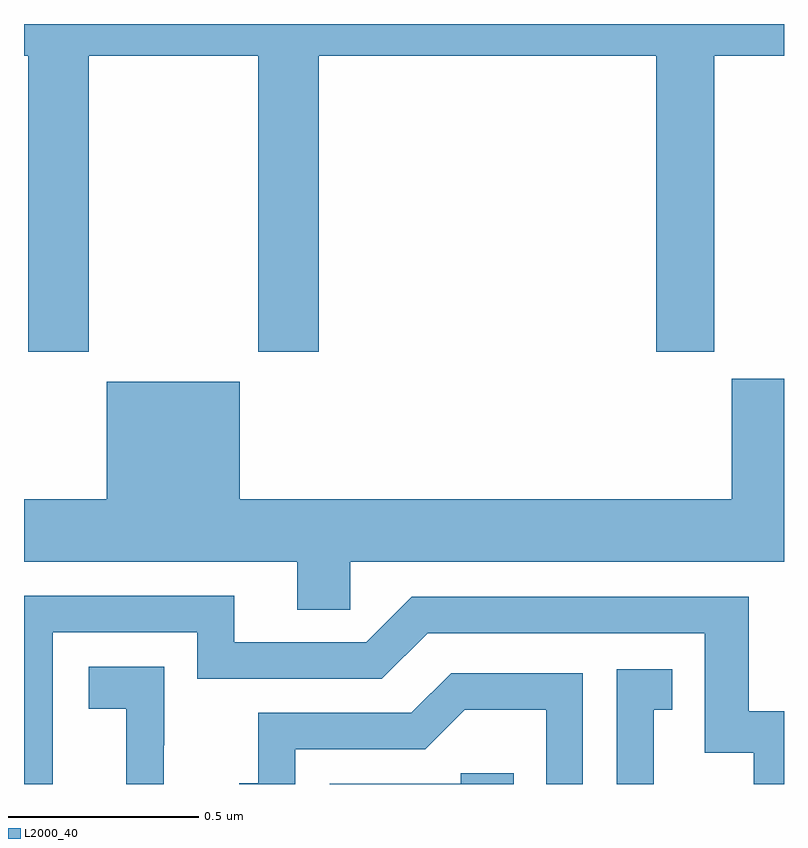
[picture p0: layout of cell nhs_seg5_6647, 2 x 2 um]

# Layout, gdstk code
import gdstk
lib = gdstk.Library(unit=1e-6, precision=1e-09)
def P(c, l, *ps):  # polygons
    for p in ps: c.add(gdstk.Polygon(p, *l))
L2000_40 = (2000, 40)

nhs_seg5_6647 = lib.new_cell('nhs_seg5_6647')
P(nhs_seg5_6647, L2000_40, [(198.171,900.716),(198.616,900.716),(198.616,899.937),(198.776,899.937),(198.776,900.716),(199.664,900.716),(199.664,899.937),(199.816,899.937),(199.816,900.716),(200,900.716),(200,900.799),(198,900.799),(198,900.716),(198.011,900.716),(198.011,899.937),(198.171,899.937)],
  [(200,899.865),(199.862,899.865),(199.862,899.548),(198.568,899.548),(198.568,899.857),(198.218,899.857),(198.218,899.548),(198,899.548),(198,899.384),(198.719,899.384),(198.719,899.257),(198.858,899.257),(198.858,899.384),(200,899.384)],
  [(198.075,899.199),(198.456,899.199),(198.456,899.076),(198.942,899.076),(199.062,899.196),(199.791,899.196),(199.791,898.881),(199.92,898.881),(199.92,898.799),(200,898.799),(200,898.99),(199.907,898.99),(199.907,899.292),(199.02,899.292),(198.9,899.172),(198.553,899.172),(198.553,899.295),(198,899.295),(198,898.799),(198.075,898.799)],
  [(198.368,898.901),(198.369,898.901),(198.369,899.107),(198.171,899.107),(198.171,898.997),(198.269,898.997),(198.269,898.799),(198.368,898.799)],
  [(199.657,898.995),(199.706,898.995),(199.706,899.101),(199.56,899.101),(199.56,898.799),(199.657,898.799)],
  [(198.714,898.89),(199.056,898.89),(199.16,898.994),(199.374,898.994),(199.374,898.799),(199.47,898.799),(199.47,899.091),(199.124,899.091),(199.019,898.986),(198.616,898.986),(198.616,898.801),(198.567,898.801),(198.567,898.799),(198.714,898.799)],
  [(199.289,898.827),(199.149,898.827),(199.149,898.8),(198.804,898.8),(198.804,898.799),(199.289,898.799)])

lib.write_gds('nhs_seg5_6647.gds')
